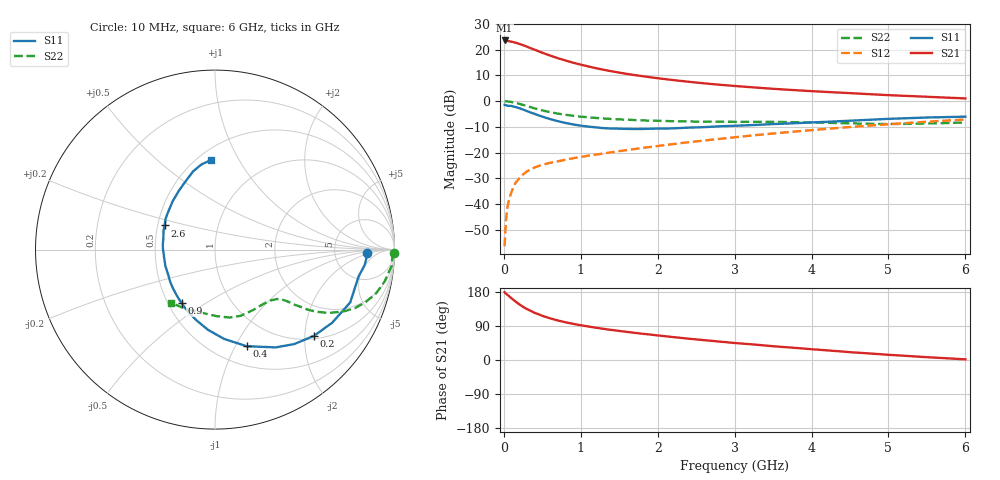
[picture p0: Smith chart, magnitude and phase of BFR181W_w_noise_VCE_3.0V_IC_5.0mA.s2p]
! Infineon Technologies  Discrete & RF Semiconductors
! BFR181W
! VCE =  3.0 V,  IC =  5.0 mA
! Common Emitter S-Parameters:  Jan 2017
# GHz  S  MA  R  50
!  f  S11  S21  S12  S22
! GHz  MAG  ANG  MAG  ANG  MAG  ANG  MAG  ANG
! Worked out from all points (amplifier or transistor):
!   77 points, 10 MHz to 6 GHz, reference 50 ohm
!   highest |S21| = 23.6 dB at 10 MHz (marker M1)
!   |S21| within 3 dB of that: start of sweep to 348.3 MHz
!   unconditionally stable (mu >= 1): 1.301 GHz to 3.368 GHz
!   at 130 MHz: K = 0.17, MSG = 28.1 dB, |S12| = -33.2 dB
!   at 2.2 GHz: K = 1.08, MAG = 10.7 dB, |S12| = -16.7 dB
!   at 6 GHz: K = 0.85, MSG = 4.1 dB, |S12| = -7.1 dB
!   lowest NFmin = 0.97 dB at 450 MHz
!   S11 on the Smith chart (normalised r, x): 10 MHz: 12, -2; 200 MHz: 1.08, -2.23; 400 MHz: 0.70, -1.11; 900 MHz: 0.59, -0.40; 2.6 GHz: 0.54, +0.16; 6 GHz: 0.58, +0.77
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0.01  0.8496 -1.4  15.2 179.1  0.0015 80.4  0.9974 -1.1
0.02  0.8393 -5.7  15.16 176.3  0.0031 97.8  0.9894 -2.0
0.04  0.8219 -8.9  14.96 173.1  0.0071 86.6  0.9879 -4.3
0.1  0.8088 -21.3  14.4 162.7  0.0171 79.1  0.9619 -10.6
0.15  0.7695 -32.0  13.82 154.7  0.0252 73.6  0.9295 -15.3
0.2  0.7317 -41.0  13.06 147.0  0.0316 69.7  0.8875 -19.3
0.25  0.6871 -50.0  12.33 140.3  0.0373 66.3  0.8451 -22.7
0.3  0.6412 -58.2  11.5 134.3  0.0429 62.7  0.801 -25.3
0.4  0.5663 -71.9  10.05 124.4  0.0512 59.2  0.7242 -29.2
0.5  0.4996 -84.3  8.762 116.6  0.0575 56.6  0.6606 -31.6
0.6  0.4486 -95.0  7.738 110.0  0.0629 55.8  0.6119 -33.0
0.7  0.4076 -104.6  6.875 104.4  0.0672 55.5  0.5729 -33.8
0.9  0.3522 -121.9  5.609 95.4  0.0774 55.4  0.5193 -35.1
1.1  0.3195 -136.8  4.733 88.4  0.0868 56.7  0.4846 -35.9
1.3  0.2977 -150.2  4.075 82.1  0.0959 57.8  0.4598 -37.1
1.6  0.2878 -167.2  3.393 74.1  0.1114 59.3  0.4359 -39.6
2.1  0.2929 170.8  2.681 62.7  0.1398 60.8  0.4105 -45.9
2.6  0.3117 154.4  2.225 52.4  0.1709 60.8  0.3993 -54.0
3.1  0.3357 140.6  1.925 43.3  0.205 59.7  0.3953 -62.2
4.1  0.3904 119.7  1.538 27.0  0.2807 54.9  0.3829 -79.9
5.1  0.4576 104.3  1.29 12.5  0.3631 47.5  0.3595 -105.3
6  0.4993 92.6  1.13 1.7  0.4397 39.2  0.3851 -129.9
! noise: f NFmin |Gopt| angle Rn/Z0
0.45  0.97  0.33  16  0.23
0.9  1.03  0.3  30  0.23
1.9  1.44  0.15  80  0.2
2.4  1.59  0.13  94  0.22
